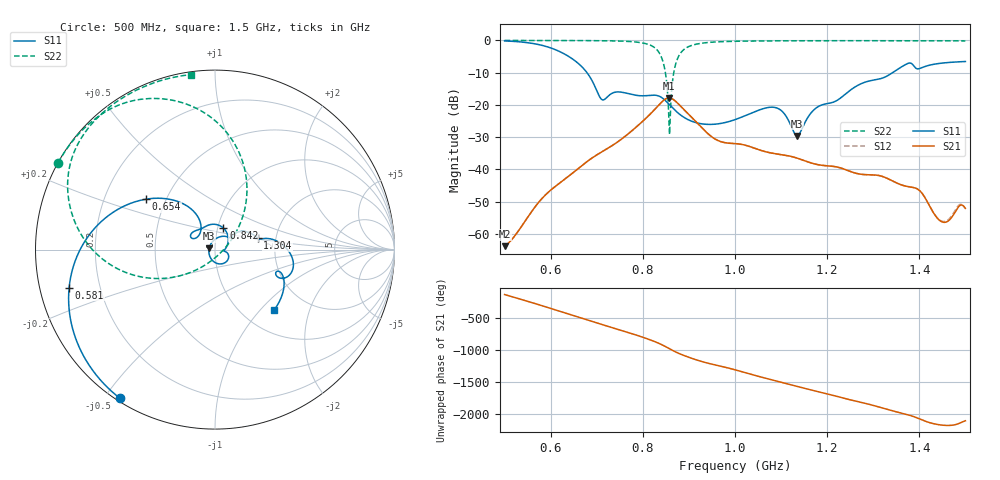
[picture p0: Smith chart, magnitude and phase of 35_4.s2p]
! TOUCHSTONE file generated by CST MICROWAVE STUDIO
! Date and time: Fri Oct  2 17:00:15 2020
! Project name: Scenario_1_Free_Space_out_of_line.cst
! Parameters = {Lambda=346.42; Step_1=17.321; dy1=-241.954; dx1=693; L_HA=400; MT=2.54; Rad_Dielectric=30; Rad_Lower=7.3; Rad_Upper=30; a_HA=580; a_WG=246; b_HA=500; b_WG=121; c_HA=0; c_WG=187; d_feed=85; h_feed=15; h_lower=18; h_upper=40}
! Header version: 2018
! Port assignment regex: !\s*Touchstone port\s*([0-9]+)\s*=\s*(CST MWS port|CST DS port)\s*([0-9]+|Zmin|Zmax)\s*\(\"(.*)\"\)(\s*mode\s*([0-9]+))?.*
! Touchstone port assignment:
! Touchstone port 1 = CST MWS port 1 ("")
! Touchstone port 2 = CST MWS port 2 ("")
# GHz S DB R 50
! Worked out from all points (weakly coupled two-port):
!   1003 points, 500 MHz to 1.5 GHz, reference 50 ohm
!   highest |S21| = -17.84 dB at 857 MHz (marker M1); lowest = -63.8 dB at 500 MHz (marker M2)
!   lowest |S11| = -29.6 dB at 1.135 GHz (marker M3), VSWR 1.07, Z = 46.9 + j0.748 ohm
!   |S11| at or under -10 dB: 678.8 MHz to 1.342 GHz (663 MHz wide, 65.6 % of centre)
!   |S22| runs from -29.1 to 0.0 dB; largest |S21 - S12| = 0.00016
!   S11 on the Smith chart (normalised r, x): 500 MHz: 0.01, -0.55; 581 MHz: 0.09, -0.13; 654 MHz: 0.39, +0.28; 842 MHz: 1.07, +0.26; 1.304 GHz: 1.60, +0.22; 1.5 GHz: 1.38, -1.20
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0.5  -0.15 -122.6  -63.78 -125.0  -63.78 -125.0  -0.01 151.1
0.581  -1.52 -165.4  -49.02 60.4  -49.02 60.4  -0.01 145.5
0.654  -6.44 143.9  -40.37 -102.5  -40.37 -102.5  -0.04 139.5
0.667  -8.06 134.1  -38.86 -132.1  -38.86 -132.1  -0.04 138.3
0.712  -18.40 137.4  -34.45 123.7  -34.45 123.7  -0.09 133.2
0.788  -17.06 125.4  -26.55 -45.1  -26.55 -45.1  -0.54 117.5
0.834  -17.21 81.9  -20.12 -167.1  -20.12 -167.1  -3.50 85.4
0.842  -17.82 68.4  -18.96 166.3  -18.96 166.3  -5.84 72.3
0.857  -19.80 44.6  -17.84 109.2  -17.84 109.2  -26.68 -2.6
0.861  -20.40 39.2  -17.94 93.4  -17.94 93.4  -18.48 -126.6
0.869  -21.54 29.6  -18.61 63.3  -18.61 63.3  -8.60 -154.3
0.887  -23.63 13.0  -21.13 6.2  -21.13 6.2  -3.08 178.3
0.931  -25.92 -6.5  -27.51 -101.1  -27.49 -101.2  -0.80 153.9
1  -24.55 -11.0  -31.97 135.9  -32.00 135.7  -0.26 140.1
1.088  -20.82 -56.2  -35.13 -34.9  -35.13 -34.9  -0.13 130.7
1.135  -29.60 166.1  -36.49 -124.8  -36.49 -124.8  -0.11 126.7
1.167  -22.14 67.3  -38.06 177.1  -38.06 177.1  -0.09 124.1
1.304  -12.21 14.9  -41.71 -70.1  -41.72 -70.1  -0.09 113.7
1.334  -10.71 12.4  -43.00 -131.8  -43.00 -131.8  -0.09 111.4
1.399  -8.77 -19.7  -46.36 91.4  -46.35 91.4  -0.10 106.3
1.45  -7.01 -31.8  -56.29 -11.8  -56.08 -12.3  -0.12 102.2
1.5  -6.53 -45.8  -52.06 57.3  -52.17 57.7  -0.14 97.8
